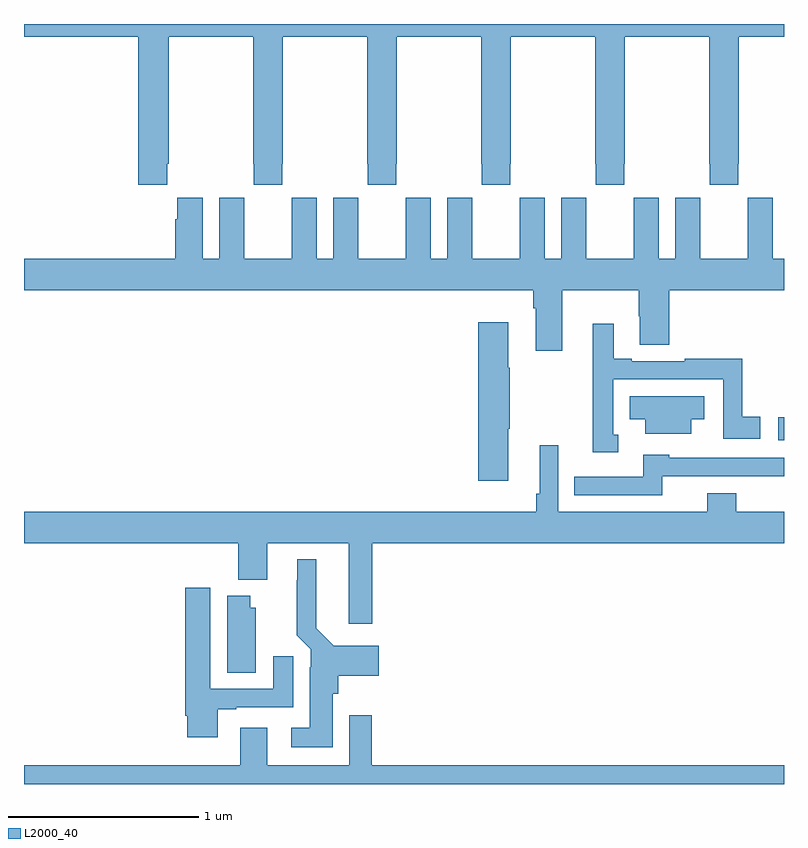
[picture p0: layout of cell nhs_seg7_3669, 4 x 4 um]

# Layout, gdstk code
import gdstk
lib = gdstk.Library(unit=1e-6, precision=1e-09)
def R(c, l, rs):  # rectangles x0, y0, x1, y1
    for r in rs: c.add(gdstk.rectangle(r[:2], r[2:], *l))
def P(c, l, *ps):  # polygons
    for p in ps: c.add(gdstk.Polygon(p, *l))
L2000_40 = (2000, 40)

nhs_seg7_3669 = lib.new_cell('nhs_seg7_3669')
R(nhs_seg7_3669, L2000_40, [(348.969,1015.809,349,1015.929)])
P(nhs_seg7_3669, L2000_40, [(345.755,1017.265),(345.762,1017.265),(345.762,1017.932),(346.207,1017.932),(346.207,1017.265),(346.209,1017.265),(346.209,1017.153),(346.359,1017.153),(346.359,1017.265),(346.362,1017.265),(346.362,1017.932),(346.807,1017.932),(346.807,1017.265),(346.809,1017.265),(346.809,1017.153),(346.959,1017.153),(346.959,1017.265),(346.962,1017.265),(346.962,1017.932),(347.407,1017.932),(347.407,1017.265),(347.409,1017.265),(347.409,1017.153),(347.559,1017.153),(347.559,1017.265),(347.562,1017.265),(347.562,1017.932),(348.007,1017.932),(348.007,1017.265),(348.009,1017.265),(348.009,1017.153),(348.159,1017.153),(348.159,1017.265),(348.162,1017.265),(348.162,1017.932),(348.607,1017.932),(348.607,1017.265),(348.609,1017.265),(348.609,1017.153),(348.759,1017.153),(348.759,1017.265),(348.762,1017.265),(348.762,1017.932),(349,1017.932),(349,1018),(345,1018),(345,1017.932),(345.602,1017.932),(345.602,1017.153),(345.755,1017.153)],
  [(348.235,1016.462),(348.242,1016.462),(348.242,1016.311),(348.395,1016.311),(348.395,1016.6),(349,1016.6),(349,1016.764),(348.94,1016.764),(348.94,1017.085),(348.81,1017.085),(348.81,1016.972),(348.809,1016.972),(348.809,1016.764),(348.559,1016.764),(348.559,1016.972),(348.558,1016.972),(348.558,1017.085),(348.428,1017.085),(348.428,1016.764),(348.34,1016.764),(348.34,1017.085),(348.21,1017.085),(348.21,1016.972),(348.209,1016.972),(348.209,1016.764),(347.959,1016.764),(347.959,1016.972),(347.958,1016.972),(347.958,1017.085),(347.828,1017.085),(347.828,1016.764),(347.74,1016.764),(347.74,1017.085),(347.61,1017.085),(347.61,1016.972),(347.609,1016.972),(347.609,1016.764),(347.359,1016.764),(347.359,1016.972),(347.358,1016.972),(347.358,1017.085),(347.228,1017.085),(347.228,1016.764),(347.14,1016.764),(347.14,1017.085),(347.01,1017.085),(347.01,1016.972),(347.009,1016.972),(347.009,1016.764),(346.759,1016.764),(346.759,1016.972),(346.758,1016.972),(346.758,1017.085),(346.628,1017.085),(346.628,1016.764),(346.54,1016.764),(346.54,1017.085),(346.41,1017.085),(346.41,1016.972),(346.409,1016.972),(346.409,1016.764),(346.159,1016.764),(346.159,1016.972),(346.158,1016.972),(346.158,1017.085),(346.028,1017.085),(346.028,1016.764),(345.94,1016.764),(345.94,1017.085),(345.806,1017.085),(345.806,1016.972),(345.797,1016.972),(345.797,1016.764),(345,1016.764),(345,1016.6),(347.681,1016.6),(347.681,1016.504),(347.693,1016.504),(347.693,1016.28),(347.833,1016.28),(347.833,1016.6),(348.235,1016.6)],
  [(347.548,1015.87),(347.556,1015.87),(347.556,1016.192),(347.548,1016.192),(347.548,1016.431),(347.39,1016.431),(347.39,1015.596),(347.548,1015.596)],
  [(348.127,1015.839),(348.102,1015.839),(348.102,1016.13),(348.681,1016.13),(348.681,1015.818),(348.874,1015.818),(348.874,1015.934),(348.78,1015.934),(348.78,1016.239),(348.478,1016.239),(348.478,1016.226),(348.199,1016.226),(348.199,1016.239),(348.103,1016.239),(348.103,1016.422),(347.993,1016.422),(347.993,1016.177),(347.994,1016.177),(347.994,1015.745),(348.127,1015.745)],
  [(348.511,1015.919),(348.58,1015.919),(348.58,1016.041),(348.187,1016.041),(348.187,1015.919),(348.269,1015.919),(348.269,1015.844),(348.511,1015.844)],
  [(346.832,1015.268),(349,1015.268),(349,1015.432),(348.749,1015.432),(348.749,1015.531),(348.596,1015.531),(348.596,1015.432),(347.811,1015.432),(347.811,1015.783),(347.714,1015.783),(347.714,1015.528),(347.695,1015.528),(347.695,1015.432),(345,1015.432),(345,1015.268),(346.127,1015.268),(346.127,1015.076),(346.279,1015.076),(346.279,1015.268),(346.709,1015.268),(346.709,1014.843),(346.832,1014.843)],
  [(348.36,1015.62),(348.832,1015.62),(348.832,1015.619),(349,1015.619),(349,1015.716),(348.396,1015.716),(348.396,1015.732),(348.26,1015.732),(348.26,1015.617),(347.896,1015.617),(347.896,1015.521),(348.36,1015.521)],
  [(346.624,1014.474),(346.655,1014.474),(346.655,1014.569),(346.867,1014.569),(346.867,1014.727),(346.629,1014.727),(346.537,1014.82),(346.537,1015.183),(346.439,1015.183),(346.439,1015.073),(346.435,1015.073),(346.435,1014.782),(346.509,1014.708),(346.509,1014.614),(346.505,1014.614),(346.505,1014.295),(346.407,1014.295),(346.407,1014.194),(346.624,1014.194)],
  [(346.021,1014.393),(346.117,1014.393),(346.117,1014.405),(346.417,1014.405),(346.417,1014.673),(346.313,1014.673),(346.313,1014.501),(345.979,1014.501),(345.979,1015.033),(345.848,1015.033),(345.848,1014.358),(345.86,1014.358),(345.86,1014.246),(346.021,1014.246)],
  [(346.219,1014.927),(346.192,1014.927),(346.192,1014.991),(346.07,1014.991),(346.07,1014.586),(346.219,1014.586)],
  [(349,1014.1),(346.829,1014.1),(346.829,1014.361),(346.713,1014.361),(346.713,1014.1),(346.279,1014.1),(346.279,1014.295),(346.139,1014.295),(346.139,1014.1),(345,1014.1),(345,1014),(349,1014)])

lib.write_gds('nhs_seg7_3669.gds')
